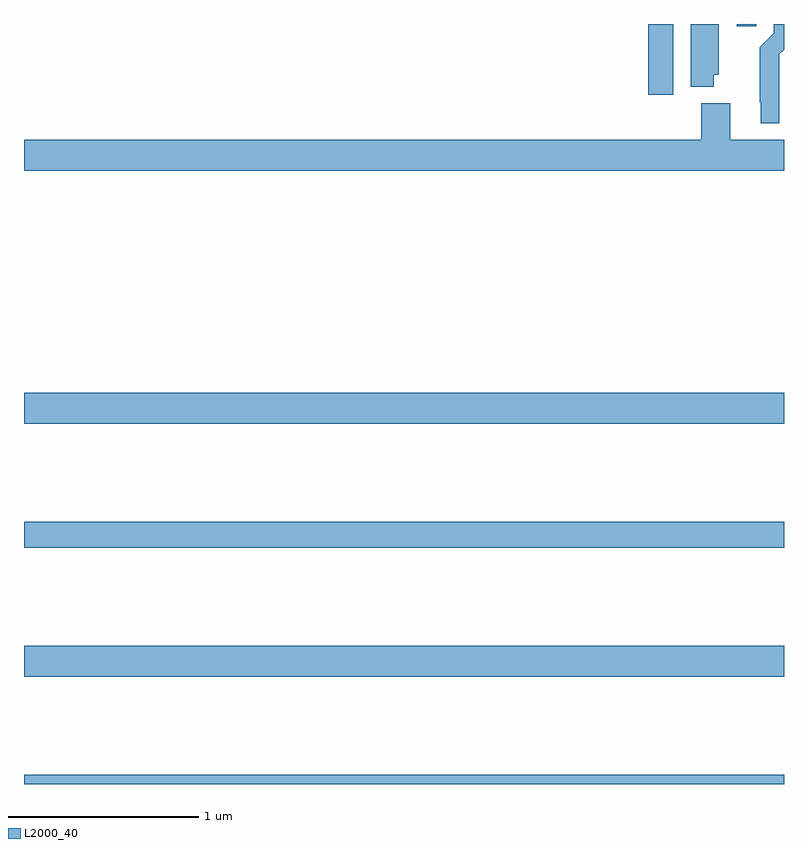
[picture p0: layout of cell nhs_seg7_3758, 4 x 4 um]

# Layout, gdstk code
import gdstk
lib = gdstk.Library(unit=1e-6, precision=1e-09)
def R(c, l, rs):  # rectangles x0, y0, x1, y1
    for r in rs: c.add(gdstk.rectangle(r[:2], r[2:], *l))
def P(c, l, *ps):  # polygons
    for p in ps: c.add(gdstk.Polygon(p, *l))
L2000_40 = (2000, 40)

nhs_seg7_3758 = lib.new_cell('nhs_seg7_3758')
R(nhs_seg7_3758, L2000_40, [(349,1052,353,1052.048), (349,1052.564,353,1052.728), (349,1053.244,353,1053.38), (349,1053.896,353,1054.06), (352.286,1055.628,352.417,1056), (352.751,1055.988,352.855,1056)])
P(nhs_seg7_3758, L2000_40, [(352.63,1055.733),(352.657,1055.733),(352.657,1056),(352.508,1056),(352.508,1055.669),(352.63,1055.669)],
  [(352.975,1055.84),(353,1055.865),(353,1056),(352.947,1056),(352.947,1055.952),(352.873,1055.878),(352.873,1055.587),(352.877,1055.587),(352.877,1055.477),(352.975,1055.477)],
  [(353,1055.392),(352.717,1055.392),(352.717,1055.584),(352.565,1055.584),(352.565,1055.392),(349,1055.392),(349,1055.228),(353,1055.228)])

lib.write_gds('nhs_seg7_3758.gds')
